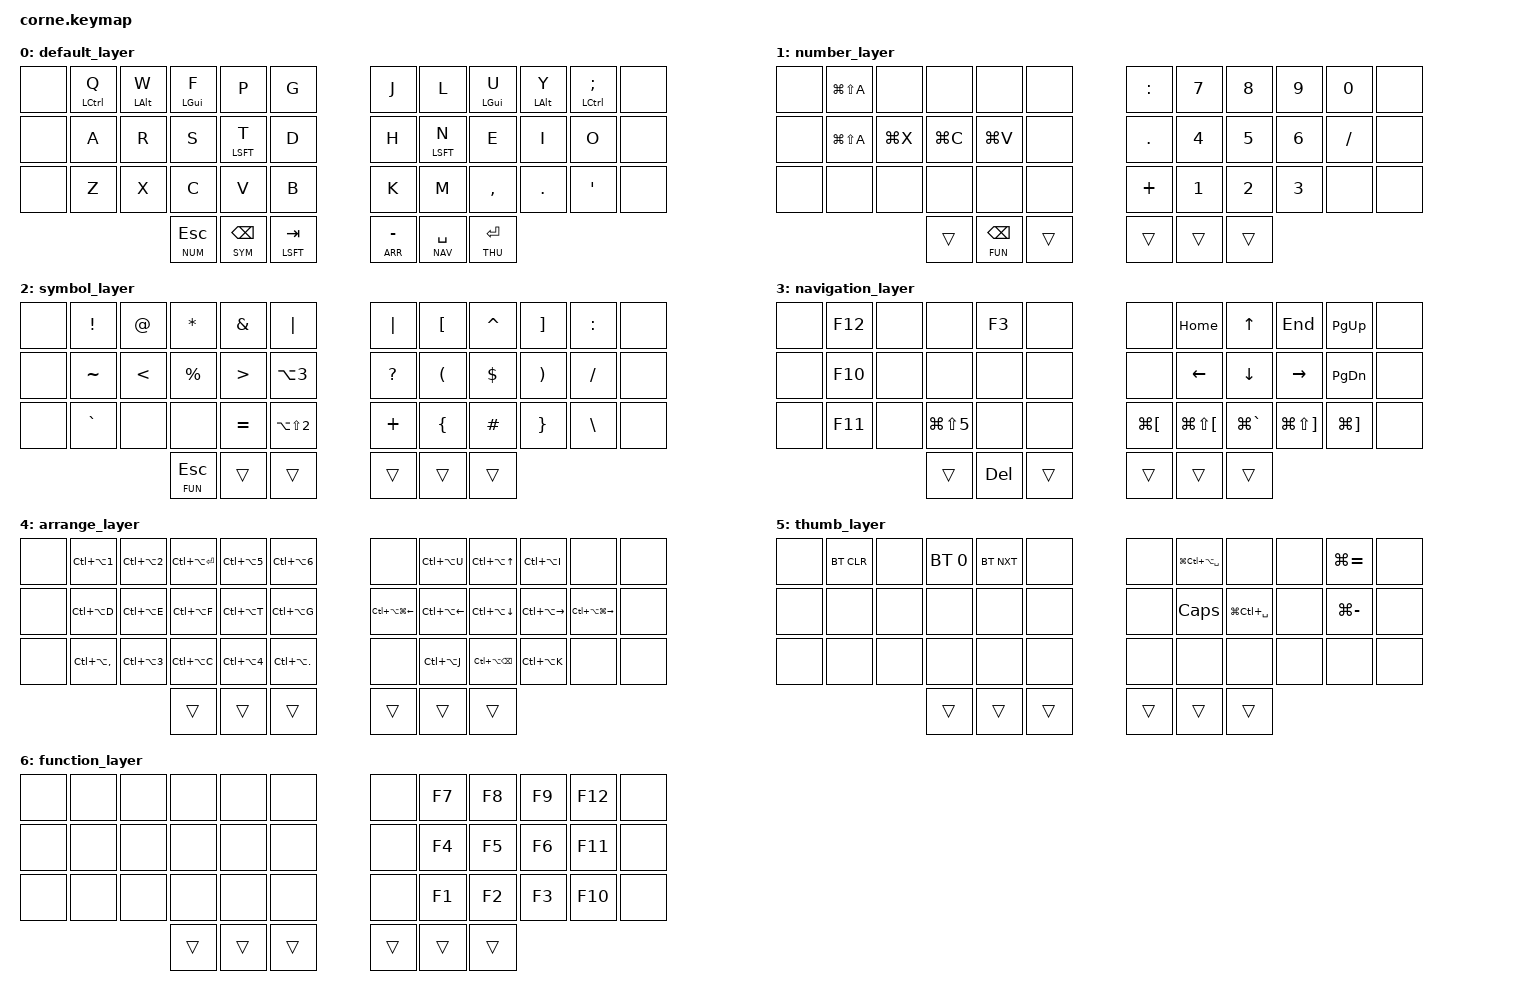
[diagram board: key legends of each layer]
/*
 * Copyright (c) 2020 The ZMK Contributors
 *
 * SPDX-License-Identifier: MIT
 */

#include <behaviors.dtsi>
#include <dt-bindings/zmk/keys.h>
#include <dt-bindings/zmk/bt.h>

# define DEFAULT 0
# define NUM 1
# define SYM 2
# define NAV 3
# define ARR 4
# define THU 5
# define FUN 6

/ {
  behaviors {
    hm: homerow_mods {
      compatible = "zmk,behavior-hold-tap";
      label = "HOMEROW_MODS";
      #binding-cells = <2>;
      tapping_term_ms = <175>;
      flavor = "tap-preferred";
      bindings = <&kp>, <&kp>;
    };
  };

  keymap {
    compatible = "zmk,keymap";
      
    default_layer {
// -------------------------------------------------     -------------------------------------------------
// |       |   Q   |   W   |   F   |   P   |   G   |     |   J   |   L   |   U   |   Y   |   ;   |       |
// |       | CTRL  |  ALT  |  GUI  |       |       |     |       |       |  GUI  |  ALT  | CTRL  |       |
// -------------------------------------------------     -------------------------------------------------
// |       |   A   |   R   |   S   |   T   |   D   |     |   H   |   N   |   E   |   I   |   O   |       |
// |       |       |       |       | Shift |       |     |       | Shift |       |       |       |       |
// -------------------------------------------------     -------------------------------------------------
// |       |   Z   |   X   |   C   |   V   |   B   |     |   K   |   M   |   ,   |   .   |   '   |       |
// |       |       |       |       |       |       |     |       |       |       |       |       |       |
// -------------------------------------------------     -------------------------------------------------
//                         |  ESC  |  BSP  |  Tab  |     [   -   | Space | Enter |
//                         | Number| Symbol| Shift |     |Arrange|  Nav  | Thumb |
//                         -------------------------     -------------------------

      bindings = <
   &none &hm LCTL Q  &hm LALT W  &hm LGUI F  &kp P  &kp G        &kp J  &kp L  &hm LGUI U  &hm LALT Y  &hm LCTRL SCLN  &none
   &none &kp A       &kp R       &kp S  &hm LSFT T  &kp D        &kp H  &hm LSFT N  &kp E  &kp I  &kp O  &none
   &none &kp Z       &kp X       &kp C  &kp V       &kp B        &kp K   &kp M  &kp CMMA &kp DOT &kp QUOT &none
                  &lt NUM ESC  &lt SYM BKSP  &mt LSFT TAB        &lt ARR MINUS &lt NAV SPC &lt THU ENTER
      >;
    };

    number_layer {
// -------------------------------------------------     -------------------------------------------------
// |       | ZOOM  |       |       |       |       |     |   :   |   7   |   8   |   9   |   0   |       |
// |       | MIC   |       |       |       |       |     |       |       |       |       |       |       |
// -------------------------------------------------     -------------------------------------------------
// |       | ZOOM  |  CUT  | COPY  | PASTE |       |     |   .   |   4   |   5   |   6   |   /   |       |
// |       | VIDEO |       |       |       |       |     |       |       |       |       |       |       |
// -------------------------------------------------     -------------------------------------------------
// |       |       |       |       |ALFRED |       |     |   +   |   1   |   2   |   3   |   *   |       |
// |       |       |       |       | PASTE |       |     |       |       |       |       |       |       |
// -------------------------------------------------     -------------------------------------------------
//                         |  NUM  | FUN   |       |     |   -   |       |       |
//                         |       |       |       |     |       |       |       |
//                         -------------------------     -------------------------

      bindings = <
   &none  &kp LG(LS(A))  &none  &none &none &none         &kp COLON &kp N7  &kp N8  &kp N9  &kp N0  &none    
   &none  &kp LG(LS(A))  &kp LG(X) &kp LG(C) &kp LG(V) &none            &kp DOT  &kp N4  &kp N5  &kp N6  &kp FSLH &none    
   &none  &none  &none  &none  &none  &none                     &kp PLUS  &kp N1  &kp N2  &kp N3  &none  &none    
                        &trans &lt FUN BKSP &trans                    &trans &trans &trans 
      >;
    };

    symbol_layer {
// -------------------------------------------------     -------------------------------------------------
// |       |   !   |   @   |   *   |   &   |   |   |     |   |   |   [   |   ^   |   ]   |   :   |       |
// -------------------------------------------------     -------------------------------------------------
// |       |   ~   |   <   |   %   |   >   |   £   |     |   ?   |   (   |   $   |   )   |   /   |       |
// -------------------------------------------------     -------------------------------------------------
// |       |   `   |      |       |   =   |   €   |     |   +   |   {   |   #   |   }   |   \   |       |
// -------------------------------------------------     -------------------------------------------------
//                         |  FUN  |  SYM  |       |     |       |       |       |
//                         |       |       |       |     |       |       |       |
//                         -------------------------     -------------------------
//
      bindings = <
   &none  &kp EXCL &kp AT &kp ASTRK &kp AMPS &kp PIPE            &kp PIPE &kp LBKT &kp CARET &kp RBKT &kp COLON &none
   &none  &kp TILDE &kp LT &kp PRCNT &kp GT &kp LA(N3)           &kp QMARK &kp LPAR &kp DLLR &kp RPAR &kp FSLH &none
   &none  &kp GRAVE &none &none &kp EQUAL &kp LA(LS(N2))  &kp PLUS &kp LBRC &kp HASH &kp RBRC &kp BSLH &none
                                  &lt FUN ESC &trans &trans           &trans &trans &trans 
      >;
    };

    navigation_layer {
      //TODO work out how to access volume controls from zmk o mac
// -------------------------------------------------     -------------------------------------------------
// |       | Vol + |       |       |MISSION|       |     |       | Home  |  Up   |  End  | Page  |       | 
// |       |       |       |       |CONTROL|       |     |       |       |       |       |  Up   |       |
// -------------------------------------------------     -------------------------------------------------
// |       | Vol   |       |       |       |       |     |       | Left  | Down  | Right | Page  |       |
// |       | MUTE  |       |       |       |       |     |       |       |       |       | Down  |       |
// -------------------------------------------------     -------------------------------------------------
// |       | Vol - |       |Screen |       |       |     | Prev  | Prev  | Next  | Next  | Fwd   |       |
// |       |       |       |Capture|       |       |     |History|  Tab  |Window |  Tab  |History|       |
// -------------------------------------------------     -------------------------------------------------
//                         |       |  Del  |       |     |       |  NAV  |       |
//                         |       |       |       |     |       |       |       |
//                         -------------------------     -------------------------
//
      bindings = < 
   &none  &kp F12  &none   &none   &kp F3  &none        &none   &kp HOME &kp UP   &kp END   &kp PG_UP &none
   &none  &kp F10  &none   &none   &none   &none        &none   &kp LEFT &kp DOWN &kp RIGHT &kp PG_DN &none
   &none  &kp F11  &none   &kp LG(LS(N5))  &none   &none        &kp LG(LBKT)  &kp LG(LS(LBKT))  &kp LG(GRAVE)  &kp LG(LS(RBKT))  &kp LG(RBKT)  &none
                            &trans  &kp DEL &trans       &trans  &trans  &trans 
      >;
    };

    arrange_layer {
// -------------------------------------------------     -------------------------------------------------
// |       | 1/6th | 2/6th | Full  | 5/6th | 6/6th |     |       | Top   | Top   | Top   |       |       |
// |       |       |       | Screen|       |       |     |       | Left  | Half  | Right |       |       |
// -------------------------------------------------     -------------------------------------------------
// |       | L 1/3 | L 2/3 | C 1/3 | R 2/3 | R 1/3 |     | Prev  | Left  | Bottom| Right | Next  |       |
// |       |       |       |       |       |       |     | Screen| Half  | Half  | Half  | Screen|       |
// -------------------------------------------------     -------------------------------------------------
// |       | L 5/6 | 3/6th | Centre| 4/6th | R 5/6 |     |       | Bottom|Restore| Bottom|       |       |
// |       |       |       |       |       |       |     |       | Left  |       | Right |       |       |
// -------------------------------------------------     -------------------------------------------------
//                         |       |       |       |     | ARR   |       |       |
//                         |       |       |       |     |       |       |       |
//                         -------------------------     -------------------------
//
      bindings = <
   &none  &kp LC(LA(N1))  &kp LC(LA(N2))  &kp LC(LA(ENTER)) &kp LC(LA(N5))  &kp LC(LA(N6))     &none  &kp LC(LA(U))  &kp LC(LA(UP))  &kp LC(LA(I))  &none  &none
   &none  &kp LC(LA(D))   &kp LC(LA(E))   &kp LC(LA(F))   &kp LC(LA(T))   &kp LC(LA(G))      &kp LC(LA(LG(LEFT)))  &kp LC(LA(LEFT))  &kp LC(LA(DOWN))  &kp LC(LA(RIGHT))  &kp LC(LA(LG(RIGHT)))  &none
   &none  &kp LC(LA(CMMA)) &kp LC(LA(N3)) &kp LC(LA(C))   &kp LC(LA(N4))  &kp LC(LA(DOT))    &none  &kp LC(LA(J))   &kp LC(LA(BKSP))  &kp LC(LA(K))  &none  &none 
                                                                     &trans &trans &trans    &trans &trans &trans 
      >;
    };

    thumb_layer {
// -------------------------------------------------     -------------------------------------------------
// |       | BT    |       | BT    | BT    |       |     |       | Input |       |       | Txt + |       |
// |       | Clear |       | Set0  | Next  |       |     |       | Lang  |       |       |       |       |
// -------------------------------------------------     -------------------------------------------------
// |       |       |       |       |       |       |     |       | Caps  | Emoji |       | Txt - |       |
// |       |       |       |       |       |       |     |       | Lock  |       |       |       |       |
// -------------------------------------------------     -------------------------------------------------
// |       |       |       |       |       |       |     |       |       |       |       |       |       |
// |       |       |       |       |       |       |     |       |       |       |       |       |       |
// -------------------------------------------------     -------------------------------------------------
//                         |       |       |       |     |       |       | Thumb |
//                         |       |       |       |     |       |       |       |
//                         -------------------------     -------------------------

      bindings = <
   &none  &bt BT_CLR  &none  &bt BT_SEL 0  &bt BT_NXT  &none    &none  &kp LG(LC(LA(SPC)))  &none  &none  &kp LG(EQUAL)  &none
   &none  &none  &none  &none  &none  &none                   &none  &kp CAPS  &kp LG(LC(SPC))  &none  &kp LG(MINUS)  &none
   &none  &none  &none  &none  &none  &none                   &none  &none  &none  &none  &none  &none
                     &trans  &trans  &trans                   &trans  &trans  &trans 
      >;
    };
    
    function_layer {
// -------------------------------------------------     -------------------------------------------------
// |       |       |       |       |       |       |     |       |  F7   |  F8   |  F9   |  F12  |       |
// |       |       |       |       |       |       |     |       |       |       |       |       |       |
// -------------------------------------------------     -------------------------------------------------
// |       |       |       |       |       |       |     |       |  F4   |  F5   |  F6   |  F11  |       |
// |       |       |       |       |       |       |     |       |       |       |       |       |       |
// -------------------------------------------------     -------------------------------------------------
// |       |       |       |       |       |       |     |       |  F1   |  F2   |  F3   |  F10  |       |
// |       |       |       |       |       |       |     |       |       |       |       |       |       |
// -------------------------------------------------     -------------------------------------------------
//                         | Func  | Func  |       |     |       |       |       |
//                         |       |       |       |     |       |       |       |
//                         -------------------------     -------------------------

      bindings = <
   &none  &none  &none  &none  &none  &none                   &none  &kp F7  &kp F8  &kp F9  &kp F12  &none
   &none  &none  &none  &none  &none  &none                   &none  &kp F4  &kp F5  &kp F6  &kp F11  &none
   &none  &none  &none  &none  &none  &none                   &none  &kp F1  &kp F2  &kp F3  &kp F10  &none
                     &trans  &trans  &trans                   &trans  &trans  &trans 
      >;
    };
  };
};

